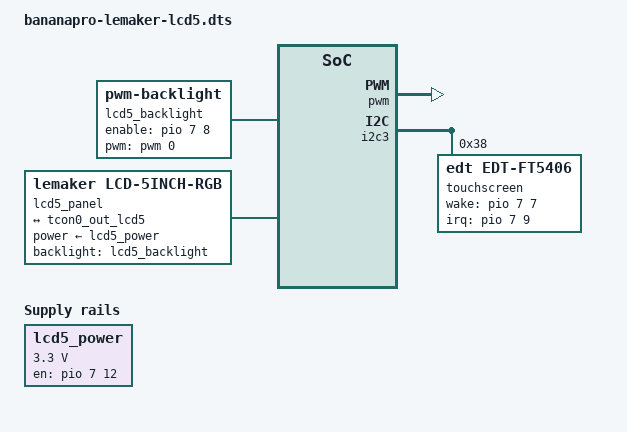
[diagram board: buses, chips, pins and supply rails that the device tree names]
// SPDX-License-Identifier: GPL-2.0
/*
 * Nakladka Device Tree: LeMaker 5" RGB 800x480 + dotyk FT5x06
 * Plyta: LeMaker Banana Pro (Allwinner A20), jadro mainline (Armbian current/edge)
 *
 * Zrodlo parametrow: fex/banana_pro_5lcd.fex z LeMaker/fex_configuration
 *
 * Instalacja na Armbian:
 *   sudo armbian-add-overlay bananapro-lemaker-lcd5.dts
 *   reboot
 *
 * Nie wlaczaj jednoczesnie z nakladka 3.5" ani 7" (wszystkie uzywaja TCON0,
 * tych samych pinow i tego samego adresu dotyku).
 * Status: szkic do testow, nie sprawdzony na sprzecie.
 */

/dts-v1/;
/plugin/;

/*
 * Sciaga (dtc bez preprocesora, wiec liczby zamiast makr):
 *   bank H = 7,  GPIO_ACTIVE_HIGH = 0,  IRQ_TYPE_EDGE_FALLING = 2
 *   PWM: <&pwm kanal okres_ns polaryzacja>, 0 = normalna
 */

&{/} {
	/* CO: zasilanie matrycy na PH12 (lcd_power w fex). */
	lcd5_power: lcd5-power {
		compatible = "regulator-fixed";
		regulator-name = "lcd5-power";
		regulator-min-microvolt = <3300000>;
		regulator-max-microvolt = <3300000>;
		gpio = <&pio 7 12 0>;		/* PH12 */
		enable-active-high;
	};

	/*
	 * CO: podswietlenie PWM0 (PB2) + wlacznik PH8.
	 * Jesli dziala odwrotnie (0 = najjasniej), zmien ostatnia liczbe w pwms na 1.
	 */
	lcd5_backlight: lcd5-backlight {
		compatible = "pwm-backlight";
		pwms = <&pwm 0 50000 0>;
		brightness-levels = <0 255>;
		num-interpolated-steps = <255>;
		default-brightness-level = <200>;
		enable-gpios = <&pio 7 8 0>;	/* PH8 */
	};

	/*
	 * CO: panel RGB opisany ogolnym wiazaniem "panel-dpi".
	 * DLACZEGO: w przeciwienstwie do 3.5" tego ekranu nie ma w sterowniku
	 * panel-simple, wiec timingi podajemy recznie w panel-timing.
	 * Pierwszy compatible jest tylko opisowy, sterownik dopasowuje "panel-dpi".
	 */
	lcd5_panel: lcd5-panel {
		compatible = "lemaker,lcd-5inch-rgb", "panel-dpi";
		width-mm = <108>;
		height-mm = <65>;
		power-supply = <&lcd5_power>;
		backlight = <&lcd5_backlight>;

		/*
		 * CO: timingi przeliczone z fex.
		 * DLACZEGO takie liczby: w fex "hbp"/"vbp" zawieraja juz impuls sync,
		 * a "vt" jest podwojone (stara konwencja Allwinnera).
		 *   hback  = hbp - hspw     = 88 - 48        = 40
		 *   hfront = ht - x - hbp   = 928 - 800 - 88 = 40
		 *   vt     = 1050 / 2       = 525
		 *   vback  = vbp - vspw     = 32 - 3         = 29
		 *   vfront = vt - y - vbp   = 525 - 480 - 32 = 13
		 * Wynik ~61.6 Hz, zgodny z konfiguracja U-Boot dla tego ekranu z linux-sunxi.
		 *
		 * DLACZEGO brak hsync-active/vsync-active/de-active: bez nich sterownik
		 * A20 zostawia polaryzacje domyslne, czyli tak samo jak w fex.
		 * Jesli obraz ma kolorowy szum lub "migoczace" krawedzie, dopisz
		 * pixelclk-active = <0>; albo <1>; (zmienia zbocze zegara pikseli).
		 */
		panel-timing {
			clock-frequency = <30000000>;
			hactive = <800>;
			vactive = <480>;
			hfront-porch = <40>;
			hback-porch = <40>;
			hsync-len = <48>;
			vfront-porch = <13>;
			vback-porch = <29>;
			vsync-len = <3>;
		};

		port {
			lcd5_panel_in: endpoint {
				remote-endpoint = <&tcon0_out_lcd5>;
			};
		};
	};
};

/*
 * CO: piny PD0-PD27 jako rownolegle wyjscie RGB (funkcja "lcd0").
 * DLACZEGO wlasna grupa: plik bazowy A20 nie ma gotowej grupy RGB na porcie D.
 * Tutaj, inaczej niz w 3.5", fex uzywal tez PD25 (DE) jako sygnalu LCD.
 */
&pio {
	lcd5_rgb888_pins: lcd5-rgb888-pins {
		pins = "PD0", "PD1", "PD2", "PD3", "PD4", "PD5", "PD6", "PD7",
		       "PD8", "PD9", "PD10", "PD11", "PD12", "PD13", "PD14", "PD15",
		       "PD16", "PD17", "PD18", "PD19", "PD20", "PD21", "PD22", "PD23",
		       "PD24", "PD25", "PD26", "PD27";
		function = "lcd0";
	};
};

&tcon0 {
	pinctrl-names = "default";
	pinctrl-0 = <&lcd5_rgb888_pins>;
};

/* CO: polaczenie TCON0 -> panel na porcie 1, endpoint 0 (wymog sterownika). */
&tcon0_out {
	#address-cells = <1>;
	#size-cells = <0>;

	tcon0_out_lcd5: endpoint@0 {
		reg = <0>;
		remote-endpoint = <&lcd5_panel_in>;
	};
};

&pwm {
	pinctrl-names = "default";
	pinctrl-0 = <&pwm0_pin>;
	status = "okay";
};

/*
 * CO: dotyk FocalTech na I2C3 (PI0/PI1), adres 0x38, przerwanie PH9,
 * wybudzanie PH7, zakres 800x480. Taki sam uklad jak w 3.5" i 7".
 * UWAGA: wymaga modulu edt-ft5x06, ktorego Armbian domyslnie nie buduje.
 */
&i2c3 {
	pinctrl-names = "default";
	pinctrl-0 = <&i2c3_pins>;
	status = "okay";
	#address-cells = <1>;
	#size-cells = <0>;

	touchscreen@38 {
		compatible = "edt,edt-ft5406";
		reg = <0x38>;
		interrupt-parent = <&pio>;
		interrupts = <7 9 2>;		/* PH9, zbocze opadajace */
		wake-gpios = <&pio 7 7 0>;	/* PH7, w fex stan wysoki = praca */
		touchscreen-size-x = <800>;
		touchscreen-size-y = <480>;
	};
};
